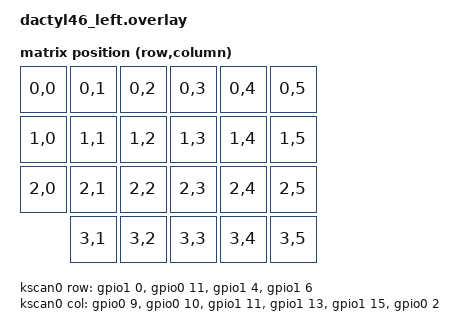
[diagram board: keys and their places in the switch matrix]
#include <dt-bindings/zmk/matrix_transform.h>
#include <dt-bindings/gpio/gpio.h>

/ {
    chosen {
        zmk,kscan            = &kscan0;
        zmk,matrix-transform = &default_transform;
    };

    /* Логически 4x6 = 24 позиции, физически 23: на левой нет крайнего ЛЕВОГО thumb (col 0) */
    default_transform: keymap_transform_0 {
        compatible = "zmk,matrix-transform";
        columns    = <6>;
        rows       = <4>;
        map = <
RC(0,0) RC(0,1) RC(0,2) RC(0,3) RC(0,4) RC(0,5)
RC(1,0) RC(1,1) RC(1,2) RC(1,3) RC(1,4) RC(1,5)
RC(2,0) RC(2,1) RC(2,2) RC(2,3) RC(2,4) RC(2,5)
        RC(3,1) RC(3,2) RC(3,3) RC(3,4) RC(3,5)
        >;
    };

    kscan0: kscan {
        compatible      = "zmk,kscan-gpio-matrix";
        diode-direction = "col2row";
        wakeup-source;

        /* row0=P1.00, row1=P0.11, row2=P1.04, row3=P1.06 */
        row-gpios
            = <&gpio1 0  (GPIO_ACTIVE_HIGH | GPIO_PULL_DOWN)>
            , <&gpio0 11 (GPIO_ACTIVE_HIGH | GPIO_PULL_DOWN)>
            , <&gpio1 4  (GPIO_ACTIVE_HIGH | GPIO_PULL_DOWN)>
            , <&gpio1 6  (GPIO_ACTIVE_HIGH | GPIO_PULL_DOWN)>
            ;

        /* col0=P0.09, col1=P0.10, col2=P1.11, col3=P1.13, col4=P1.15, col5=P0.02 */
        col-gpios
            = <&gpio0 9  GPIO_ACTIVE_HIGH>
            , <&gpio0 10 GPIO_ACTIVE_HIGH>
            , <&gpio1 11 GPIO_ACTIVE_HIGH>
            , <&gpio1 13 GPIO_ACTIVE_HIGH>
            , <&gpio1 15 GPIO_ACTIVE_HIGH>
            , <&gpio0 2  GPIO_ACTIVE_HIGH>
            ;
    };
};
